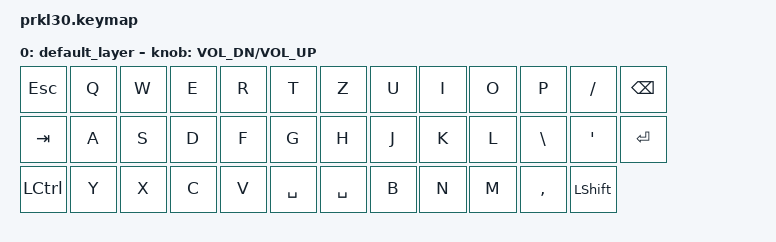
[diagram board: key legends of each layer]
/*
 * Copyright (c) 2021 The ZMK Contributors
 *
 * SPDX-License-Identifier: MIT
 */


#include <behaviors.dtsi>
#include <dt-bindings/zmk/keys.h>
#include <dt-bindings/zmk/bt.h>
#include <dt-bindings/zmk/rgb.h>
#include <dt-bindings/zmk/outputs.h>

/ {

    keymap {
                compatible = "zmk,keymap";

                default_layer {

//PUT YOUR KEYMAP COMMENTS HERE                    

                bindings = <
    &kp ESC   &kp Q  &kp W   &kp E   &kp R  &kp T     &kp Z     &kp U  &kp I  &kp O  &kp P     &kp SLASH        &kp BACKSPACE  
    &kp TAB   &kp A  &kp S   &kp D   &kp F  &kp G     &kp H     &kp J  &kp K  &kp L  &kp BSLH  &kp SINGLE_QUOTE &kp RET   
    &kp LCTRL &kp Y  &kp X   &kp C   &kp V  &kp SPACE &kp SPACE &kp B  &kp N  &kp M  &kp COMMA &kp LSHFT   
                >;
            sensor-bindings = <&inc_dec_kp C_VOL_DN C_VOL_UP>;
                };
        };
};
